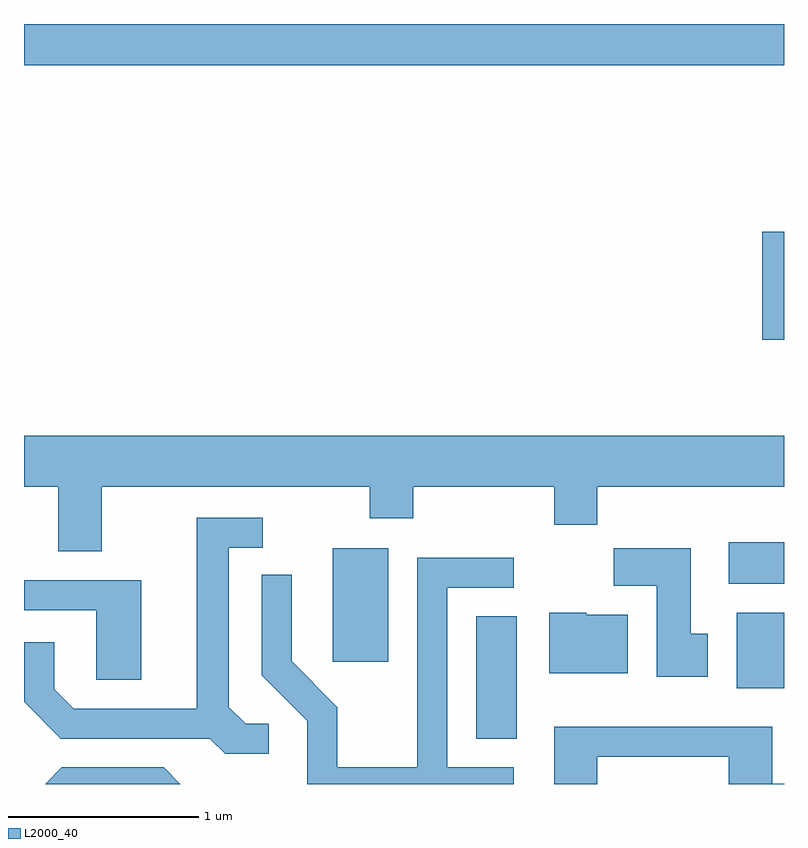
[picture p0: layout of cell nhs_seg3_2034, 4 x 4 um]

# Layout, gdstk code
import gdstk
lib = gdstk.Library(unit=1e-6, precision=1e-09)
def R(c, l, rs):  # rectangles x0, y0, x1, y1
    for r in rs: c.add(gdstk.rectangle(r[:2], r[2:], *l))
def P(c, l, *ps):  # polygons
    for p in ps: c.add(gdstk.Polygon(p, *l))
L2000_40 = (2000, 40)

nhs_seg3_2034 = lib.new_cell('nhs_seg3_2034')
R(nhs_seg3_2034, L2000_40, [(245.991,1240.131,246.204,1240.774), (247.361,1240.396,247.611,1240.794), (245.236,1240.536,245.529,1241.134), (247.321,1240.946,247.611,1241.164), (247.496,1242.231,247.611,1242.799), (243.611,1243.676,247.611,1243.892)])
P(nhs_seg3_2034, L2000_40, [(244.019,1241.456),(245.431,1241.456),(245.431,1241.291),(245.659,1241.291),(245.659,1241.456),(246.401,1241.456),(246.401,1241.256),(246.629,1241.256),(246.629,1241.456),(247.611,1241.456),(247.611,1241.724),(243.611,1241.724),(243.611,1241.456),(243.791,1241.456),(243.791,1241.116),(244.019,1241.116)],
  [(244.898,1240.209),(244.777,1240.209),(244.689,1240.297),(244.689,1241.136),(244.868,1241.136),(244.868,1241.294),(244.521,1241.294),(244.521,1240.289),(243.872,1240.289),(243.769,1240.392),(243.769,1240.638),(243.611,1240.638),(243.611,1240.324),(243.804,1240.131),(244.589,1240.131),(244.669,1240.051),(244.898,1240.051)],
  [(247.209,1240.684),(247.119,1240.684),(247.119,1241.134),(246.716,1241.134),(246.716,1240.936),(246.941,1240.936),(246.941,1240.456),(247.209,1240.456)],
  [(246.188,1239.979),(245.839,1239.979),(245.839,1240.926),(246.188,1240.926),(246.188,1241.084),(245.681,1241.084),(245.681,1239.979),(245.259,1239.979),(245.259,1240.297),(245.019,1240.537),(245.019,1240.993),(244.861,1240.993),(244.861,1240.464),(245.101,1240.224),(245.101,1239.892),(246.188,1239.892)],
  [(244.229,1240.964),(243.611,1240.964),(243.611,1240.806),(243.991,1240.806),(243.991,1240.441),(244.229,1240.441)],
  [(246.789,1240.784),(246.57,1240.784),(246.57,1240.794),(246.376,1240.794),(246.376,1240.476),(246.789,1240.476)],
  [(246.629,1240.036),(247.321,1240.036),(247.321,1239.892),(247.611,1239.892),(247.611,1239.894),(247.549,1239.894),(247.549,1240.194),(246.401,1240.194),(246.401,1239.892),(246.629,1239.892)],
  [(244.347,1239.979),(243.809,1239.979),(243.722,1239.892),(244.434,1239.892)])

lib.write_gds('nhs_seg3_2034.gds')
